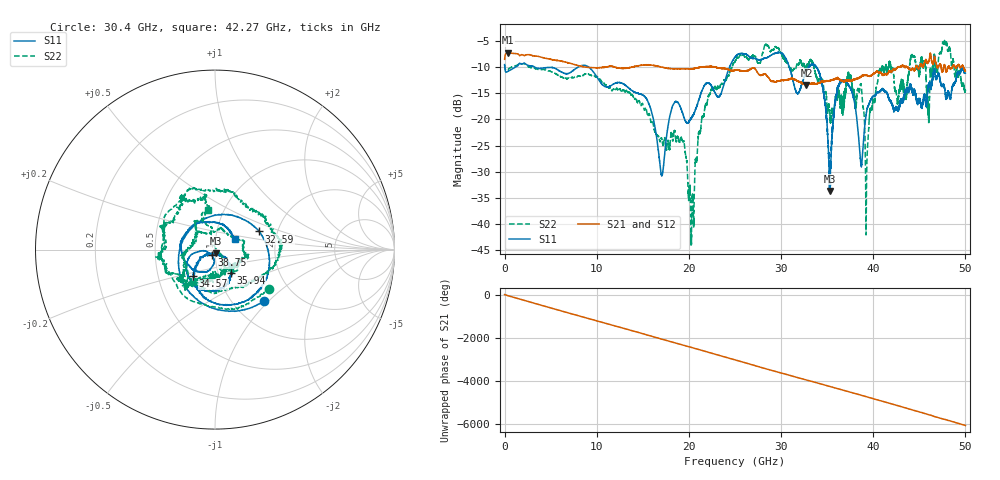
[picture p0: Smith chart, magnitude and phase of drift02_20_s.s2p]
!Created with skrf (http://scikit-rf.org).
# Hz S RI R 50.0
!freq ReS11 ImS11 ReS21 ImS21 ReS12 ImS12 ReS22 ImS22
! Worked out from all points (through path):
!   10001 points, 300 kHz to 50 GHz, reference 50 ohm
!   highest |S21| = -7.32 dB at 325.3 MHz (marker M1); lowest = -13.5 dB at 32.75 GHz (marker M2)
!   group delay of S21, straight-line fit = 335 ps
!   lowest |S11| = -33.7 dB at 35.31 GHz (marker M3), VSWR 1.04, Z = 50.5 - j2.02 ohm
!   |S11| at or under -10 dB: 3.234 GHz to 8.004 GHz (4.77 GHz wide, 84.9 % of centre); 9.103 GHz to 24.41 GHz (15.31 GHz wide, 91.4 % of centre); 33.83 GHz to end of sweep (the widest 3 of 8)
!   |S22| runs from -44.2 to -5.0 dB; largest |S21 - S12| = 0.015
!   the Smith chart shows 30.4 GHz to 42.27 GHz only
!   S11 on the Smith chart (normalised r, x): 30.4 GHz: 1.38, -0.94; 32.59 GHz: 1.61, +0.35; 34.57 GHz: 0.75, -0.23; 35.94 GHz: 1.15, -0.31; 38.75 GHz: 0.96, -0.06; 42.27 GHz: 1.24, +0.15
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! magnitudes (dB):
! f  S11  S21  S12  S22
! 300 kHz  -9.6  -8.6  -8.5  -9.6
! 325.3 MHz  -10.9  -7.3  -7.3  -10.6
! 8.335 GHz  -9.7  -9.9  -9.9  -11.6
! 16.67 GHz  -25.8  -9.9  -9.9  -23.2
! 19.31 GHz  -18.8  -10.4  -10.3  -24.3
! 20.35 GHz  -19.5  -10.4  -10.4  -35.9
! 21.93 GHz  -13.1  -10.0  -9.9  -17.1
! 25 GHz  -8.1  -10.7  -10.7  -9.0
! 30.4 GHz  -8.0  -12.5  -12.6  -8.5
! 32.59 GHz  -11.5  -13.2  -13.3  -10.4
! 32.75 GHz  -10.8  -13.5  -13.5  -10.0
! 33.34 GHz  -9.5  -13.1  -13.2  -9.0
! 34.57 GHz  -14.3  -12.8  -12.8  -13.2
! 35.31 GHz  -33.7  -12.6  -12.5  -19.4
! 35.94 GHz  -16.1  -12.2  -12.3  -15.4
! 37.51 GHz  -14.0  -12.6  -12.6  -11.4
! 38.75 GHz  -28.7  -11.8  -11.8  -14.5
! 39.31 GHz  -18.3  -11.6  -11.6  -28.4
! 41.67 GHz  -15.9  -10.9  -11.1  -9.7
! 42.27 GHz  -18.1  -10.5  -10.4  -13.0
! 47.76 GHz  -14.4  -9.8  -9.7  -5.3
! 50 GHz  -11.2  -10.8  -10.8  -14.7
